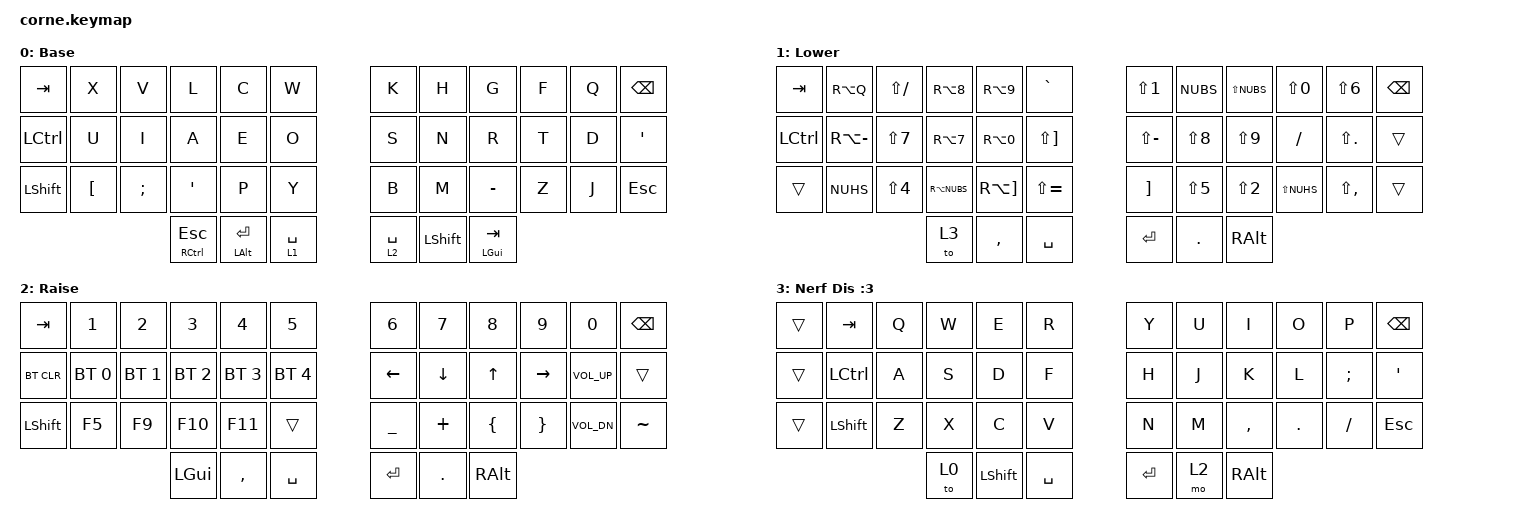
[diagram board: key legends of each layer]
/*
 * Copyright (c) 2020 The ZMK Contributors
 *
 * SPDX-License-Identifier: MIT
 */

#include <behaviors.dtsi>
#include <dt-bindings/zmk/keys.h>
#include <dt-bindings/zmk/bt.h>
/ {
	combos {
        	compatible = "zmk,combos";
        	combo_ret {
        		timeout-ms = <25>;
        		key-positions = <15 16>;
        		bindings = <&kp RET>;
        	};
        	combo_tab {
        		timeout-ms = <25>;
        		key-positions = <14 15>;
        		bindings = <&kp TAB>;
        	};
        	combo_bcksp {
        		timeout-ms = <25>;
        		key-positions = <19 20>;
        		bindings = <&kp BKSP>;
        	};
        	combo_esc {
        		timeout-ms = <25>;
        		key-positions = <20 21>;
        		bindings = <&kp ESC>;
        	};
	};
        keymap {
                compatible = "zmk,keymap";

                default_layer {
// -----------------------------------------------------------------------------------------
// |  TAB |  Q  |  W  |  E  |  R  |  T  |   |  Y  |  U   |  I  |  O  |  P  | BKSP |
// | CTRL |  A  |  S  |  D  |  F  |  G  |   |  H  |  J   |  K  |  L  |  ;  |  '   |
// | SHFT |  Z  |  X  |  C  |  V  |  B  |   |  N  |  M   |  ,  |  .  |  /  | ESC  |
//                    | GUI | LWR | SPC |   | ENT | RSE  | ALT |
                        display-name = "Base";
                        bindings = <
   &kp TAB   &kp X    &kp V    &kp L    &kp C &kp W         &kp K &kp H &kp G     &kp F &kp Q &kp BSPC
   &kp LCTRL &kp U    &kp I    &kp A    &kp E &kp O         &kp S &kp N &kp R     &kp T &kp D &kp SQT
   &kp LSHFT &kp LBKT &kp SCLN &kp QUOT &kp P &kp Y         &kp B &kp M &kp MINUS &kp Z &kp J &kp ESC
              &mt RCTL ESC &mt LALT RET &lt 1 SPACE         &lt 2 SPACE &kp LSHIFT &mt LGUI TAB
                        >;
                };
                lower_layer {
// -----------------------------------------------------------------------------------------
// |  TAB |  1  |  2  |  3  |  4  |  5  |   |  6  |  7  |  8  |  9  |  0  | BKSP |
// | BTCLR| BT1 | BT2 | BT3 | BT4 | BT5 |   | LFT | DWN |  UP | RGT |     |      |
// | SHFT |     |     |     |     |     |   |     |     |     |     |     |      |
//                    | GUI |     | SPC |   | ENT |     | ALT |
                        display-name = "Lower";
                        bindings = <
   &kp TAB   &kp RA(Q)     &kp LS(FSLH) &kp RA(N8)   &kp RA(N9)    &kp GRAVE          &kp LS(N1)    &kp NUBS   &kp LS(NUBS) &kp LS(N0)   &kp LS(N6)    &kp BSPC
   &kp LCTRL &kp RA(MINUS) &kp LS(N7)   &kp RA(N7)   &kp RA(N0)    &kp LS(RBKT)       &kp LS(MINUS) &kp LS(N8) &kp LS(N9)   &kp FSLH     &kp LS(DOT)   &trans
   &trans    &kp NUHS      &kp LS(N4)   &kp RA(NUBS) &kp RA(RBKT)  &kp LS(EQUAL)      &kp RBKT      &kp LS(N5) &kp LS(N2)   &kp LS(NUHS) &kp LS(COMMA) &trans
                          	                &to 3 &kp COMMA &kp SPACE          &kp RET &kp DOT &kp RALT
                        >;
                };

                raise_layer {
// -----------------------------------------------------------------------------------------
// |  TAB |  !  |  @  |  #  |  $  |  %  |   |  ^  |  &  |  *  |  (  |  )  | BKSP |
// | CTRL |     |     |     |     |     |   |  -  |  =  |  [  |  ]  |  \  |  `   |
// | SHFT |     |     |     |     |     |   |  _  |  +  |  {  |  }  | "|" |  ~   |
//                    | GUI |     | SPC |   | ENT |     | ALT |
                        display-name = "Raise";
                        bindings = <
   &kp TAB    &kp N1       &kp N2       &kp N3       &kp N4       &kp N5         	&kp N6    &kp N7    &kp N8   &kp N9     &kp N0		&kp BSPC
   &bt BT_CLR &bt BT_SEL 0 &bt BT_SEL 1 &bt BT_SEL 2 &bt BT_SEL 3 &bt BT_SEL 4   	&kp LEFT  &kp DOWN  &kp UP   &kp RIGHT  &kp C_VOL_UP	&trans
   &kp LSHFT  &kp F5	   &kp F9 	&kp F10	     &kp F11  	  &trans 	     	&kp UNDER &kp PLUS  &kp LBRC &kp RBRC	&kp C_VOL_DN	&kp TILDE
                    	   		&kp LGUI     &kp COMMA    &kp SPACE		&kp RET   &kp DOT   &kp RALT
                        >;
                };

		gaymen_layer {
			display-name = "Nerf Dis :3";
			bindings = <
&trans &kp TAB   &kp Q &kp W &kp E &kp R   &kp Y &kp U  &kp I     &kp O   &kp P    &kp BSPC
&trans &kp LCTRL &kp A &kp S &kp D &kp F   &kp H &kp J  &kp K     &kp L   &kp SEMI &kp SQT
&trans &kp LSHFT &kp Z &kp X &kp C &kp V   &kp N &kp M  &kp COMMA &kp DOT &kp FSLH &kp ESC
              &to 0 &kp LSHFT &kp SPACE   &kp RET &mo 2 &kp RALT
			>;
		};
        };
};
